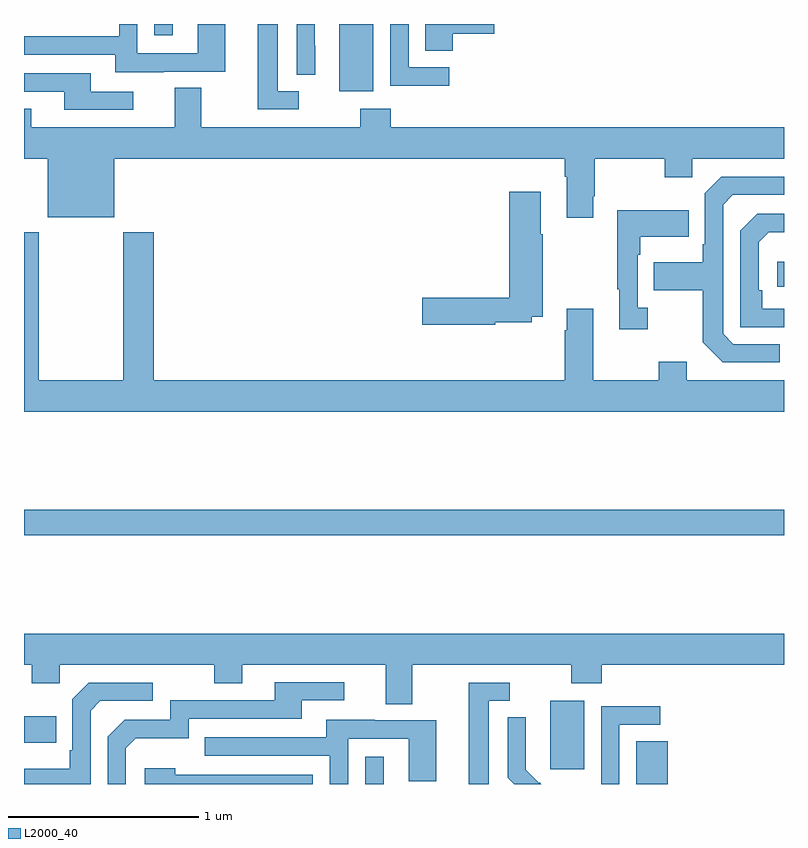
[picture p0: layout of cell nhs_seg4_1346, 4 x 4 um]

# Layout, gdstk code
import gdstk
lib = gdstk.Library(unit=1e-6, precision=1e-09)
def R(c, l, rs):  # rectangles x0, y0, x1, y1
    for r in rs: c.add(gdstk.rectangle(r[:2], r[2:], *l))
def P(c, l, *ps):  # polygons
    for p in ps: c.add(gdstk.Polygon(p, *l))
L2000_40 = (2000, 40)

nhs_seg4_1346 = lib.new_cell('nhs_seg4_1346')
R(nhs_seg4_1346, L2000_40, [(182.796,754.9,182.893,755.044), (184.223,754.9,184.387,755.126), (183.77,754.977,183.949,755.338), (181,755.117,181.169,755.257), (181,756.208,185,756.344), (184.965,757.518,185,757.648), (182.66,758.546,182.839,758.9), (181.686,758.841,181.783,758.9)])
P(nhs_seg4_1346, L2000_40, [(183.238,758.673),(183.024,758.673),(183.024,758.9),(182.928,758.9),(182.928,758.575),(183.238,758.575)],
  [(182.532,758.786),(182.531,758.786),(182.531,758.9),(182.436,758.9),(182.436,758.632),(182.532,758.632)],
  [(182.446,758.547),(182.335,758.547),(182.335,758.9),(182.231,758.9),(182.231,758.451),(182.446,758.451)],
  [(183.257,758.849),(183.475,758.849),(183.475,758.9),(183.113,758.9),(183.113,758.758),(183.257,758.758)],
  [(181.735,758.649),(182.059,758.649),(182.059,758.9),(181.914,758.9),(181.914,758.745),(181.596,758.745),(181.596,758.9),(181.5,758.9),(181.5,758.835),(181,758.835),(181,758.739),(181.481,758.739),(181.481,758.645),(181.735,758.645)],
  [(181.576,758.544),(181.351,758.544),(181.351,758.64),(181,758.64),(181,758.544),(181.211,758.544),(181.211,758.448),(181.576,758.448)],
  [(183.997,757.993),(184.005,757.993),(184.005,758.192),(184.372,758.192),(184.372,758.093),(184.518,758.093),(184.518,758.192),(185,758.192),(185,758.356),(182.93,758.356),(182.93,758.455),(182.77,758.455),(182.77,758.356),(181.933,758.356),(181.933,758.564),(181.793,758.564),(181.793,758.356),(181.039,758.356),(181.039,758.455),(181,758.455),(181,758.192),(181.124,758.192),(181.124,757.883),(181.474,757.883),(181.474,758.192),(183.845,758.192),(183.845,758.096),(183.857,758.096),(183.857,757.881),(183.997,757.881)],
  [(184.978,757.215),(184.734,757.215),(184.68,757.269),(184.68,757.95),(184.731,758.001),(185,758.001),(185,758.097),(184.671,758.097),(184.584,758.01),(184.584,757.741),(184.572,757.741),(184.572,757.645),(184.315,757.645),(184.315,757.498),(184.572,757.498),(184.572,757.225),(184.677,757.119),(184.978,757.119)],
  [(183.48,757.33),(183.672,757.33),(183.672,757.358),(183.729,757.358),(183.729,757.793),(183.721,757.793),(183.721,758.017),(183.554,758.017),(183.554,757.46),(183.096,757.46),(183.096,757.318),(183.48,757.318)],
  [(184.282,757.406),(184.23,757.406),(184.23,757.685),(184.243,757.685),(184.243,757.781),(184.499,757.781),(184.499,757.921),(184.122,757.921),(184.122,757.505),(184.133,757.505),(184.133,757.293),(184.282,757.293)],
  [(185,757.401),(184.886,757.401),(184.886,757.498),(184.866,757.498),(184.866,757.752),(184.919,757.805),(185,757.805),(185,757.902),(184.86,757.902),(184.77,757.812),(184.77,757.305),(185,757.305)],
  [(185,757.024),(184.489,757.024),(184.489,757.123),(184.342,757.123),(184.342,757.024),(183.997,757.024),(183.997,757.402),(183.857,757.402),(183.857,757.289),(183.845,757.289),(183.845,757.024),(181.682,757.024),(181.682,757.804),(181.522,757.804),(181.522,757.024),(181.077,757.024),(181.077,757.804),(181,757.804),(181,756.86),(185,756.86)],
  [(181,755.528),(181.042,755.528),(181.042,755.429),(181.188,755.429),(181.188,755.528),(182.002,755.528),(182.002,755.429),(182.149,755.429),(182.149,755.528),(182.903,755.528),(182.903,755.32),(183.043,755.32),(183.043,755.528),(183.88,755.528),(183.88,755.429),(184.04,755.429),(184.04,755.528),(185,755.528),(185,755.692),(181,755.692)],
  [(181.536,755.088),(181.589,755.141),(181.866,755.141),(181.866,755.244),(182.461,755.244),(182.461,755.34),(182.686,755.34),(182.686,755.436),(182.321,755.436),(182.321,755.34),(181.77,755.34),(181.77,755.238),(181.53,755.238),(181.44,755.148),(181.44,754.9),(181.536,754.9)],
  [(183.445,755.337),(183.556,755.337),(183.556,755.433),(183.341,755.433),(183.341,754.9),(183.445,754.9)],
  [(181.35,755.286),(181.401,755.337),(181.678,755.337),(181.678,755.433),(181.341,755.433),(181.254,755.346),(181.254,755.077),(181.242,755.077),(181.242,754.981),(181,754.981),(181,754.9),(181.35,754.9)],
  [(184.134,755.211),(184.348,755.211),(184.348,755.31),(184.038,755.31),(184.038,754.9),(184.134,754.9)],
  [(183.714,754.908),(183.711,754.905),(183.641,754.976),(183.641,755.098),(183.642,755.098),(183.642,755.252),(183.546,755.252),(183.546,754.934),(183.58,754.9),(183.722,754.9)],
  [(182.706,755.139),(183.024,755.139),(183.024,754.915),(183.169,754.915),(183.169,755.235),(182.845,755.235),(182.845,755.239),(182.591,755.239),(182.591,755.145),(181.951,755.145),(181.951,755.049),(182.61,755.049),(182.61,754.9),(182.706,754.9)],
  [(182.52,754.95),(181.796,754.95),(181.796,754.984),(181.635,754.984),(181.635,754.9),(182.52,754.9)])

lib.write_gds('nhs_seg4_1346.gds')
